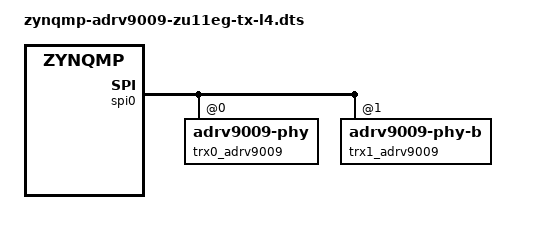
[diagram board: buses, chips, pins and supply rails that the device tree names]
// SPDX-License-Identifier: GPL-2.0
/*
 * ADRV2CRR-FMC using ADRV9009-ZU11EG Rev.B System on Module
 *
 * https://wiki.analog.com/resources/eval/user-guides/adrv9009
 * https://wiki.analog.com/resources/tools-software/linux-drivers/iio-transceiver/adrv9009
 * https://wiki.analog.com/resources/tools-software/linux-software/adrv9009_advanced_plugin
 * https://wiki.analog.com/resources/eval/user-guides/adrv9009-zu11eg/adrv2crr-fmc_carrier_board
 *
 * hdl_project: <adrv9009zu11eg/adrv2crr_fmc>
 * board_revision: <B>
 *
 * Copyright (C) 2022 Analog Devices Inc.
 */

#include "zynqmp-adrv9009-zu11eg-revb-adrv2crr-fmc-revb-jesd204-fsm.dts"

&spi0 {
	trx0_adrv9009: adrv9009-phy@0 {
		/* JESD204 */

		/* JESD204 OBS */
		adi,jesd204-framer-b-m = <4>;

		/* JESD204 TX */
		adi,jesd204-deframer-a-deserializer-lanes-enabled = <0x03>;
	};
	trx1_adrv9009: adrv9009-phy-b@1 {
		/* JESD204 */

		/* JESD204 OBS */
		adi,jesd204-framer-b-m = <4>;

		/* JESD204 TX */
		adi,jesd204-deframer-a-deserializer-lanes-enabled = <0x03>;
	};
};
